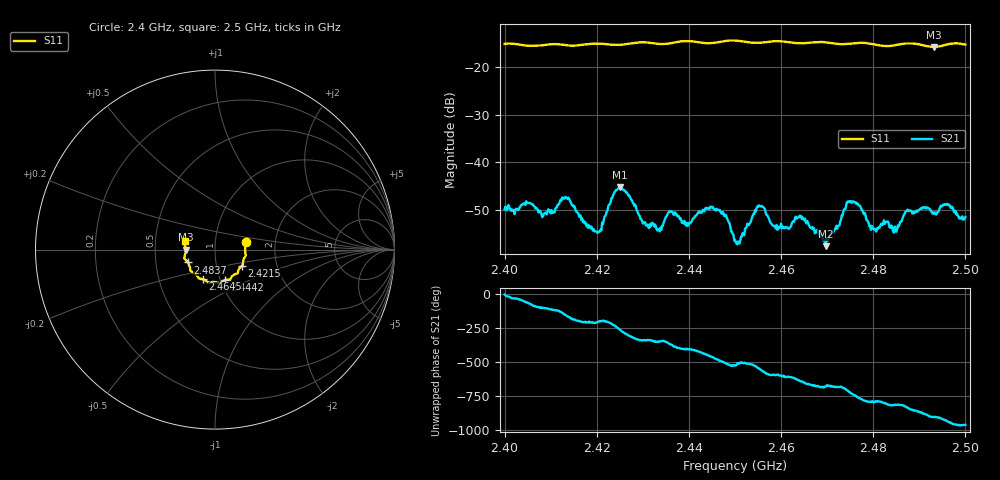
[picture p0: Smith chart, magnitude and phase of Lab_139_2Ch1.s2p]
# Hz S RI R 50
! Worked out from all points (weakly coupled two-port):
!   601 points, 2.4 GHz to 2.5 GHz, reference 50 ohm
!   highest |S21| = -45.17 dB at 2.425 GHz (marker M1); lowest = -57.6 dB at 2.4697 GHz (marker M2)
!   lowest |S11| = -15.7 dB at 2.4932 GHz (marker M3), VSWR 1.39, Z = 35.9 - j0.0503 ohm
!   |S11| at or under -10 dB: start of sweep to end of sweep
!   S12 and S22 are empty: the file has one direction only
!   S11 on the Smith chart (normalised r, x): 2.4 GHz: 1.41, +0.12; 2.4215 GHz: 1.33, -0.25; 2.4442 GHz: 1.05, -0.37; 2.4645 GHz: 0.83, -0.29; 2.4837 GHz: 0.73, -0.11; 2.5 GHz: 0.71, +0.07
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2.4e9  0.1714 0.0401  0.00319 -0.000359  0 0  0 0
2.408667e9  0.1695 -0.0239  -0.000799 -0.00282  0 0  0 0
2.4135e9  0.1638 -0.0457  -0.00405 -0.00117  0 0  0 0
2.416667e9  0.1568 -0.0698  -0.00219 0.00115  0 0  0 0
2.4215e9  0.1511 -0.09  -0.00232 0.000771  0 0  0 0
2.425e9  0.1342 -0.1072  -0.000655 0.00548  0 0  0 0
2.433333e9  0.1082 -0.1384  0.00198 0.000177  0 0  0 0
2.435833e9  0.0927 -0.1519  0.003 -0.000571  0 0  0 0
2.444167e9  0.0564 -0.1695  -0.000166 -0.00331  0 0  0 0
2.447833e9  0.0311 -0.1858  -0.00237 -0.00146  0 0  0 0
2.45e9  0.025 -0.1891  -0.00149 -0.000324  0 0  0 0
2.455333e9  -0.0111 -0.1804  -0.00339 0.000765  0 0  0 0
2.458833e9  -0.0319 -0.1851  -0.00106 0.00172  0 0  0 0
2.4645e9  -0.066 -0.1659  0.00056 0.00248  0 0  0 0
2.466667e9  -0.0827 -0.1619  0.00133 0.00151  0 0  0 0
2.469667e9  -0.0932 -0.1572  0.00101 0.000839  0 0  0 0
2.474667e9  -0.1203 -0.1284  0.0039 0.00014  0 0  0 0
2.48e9  -0.1385 -0.1064  0.000611 -0.00192  0 0  0 0
2.483333e9  -0.1491 -0.0749  -0.00022 -0.0023  0 0  0 0
2.483667e9  -0.151 -0.0718  -0.000226 -0.00204  0 0  0 0
2.493167e9  -0.1636 -0.000681  -0.00287 0.000265  0 0  0 0
2.5e9  -0.1652 0.0504  -0.00127 0.00234  0 0  0 0
